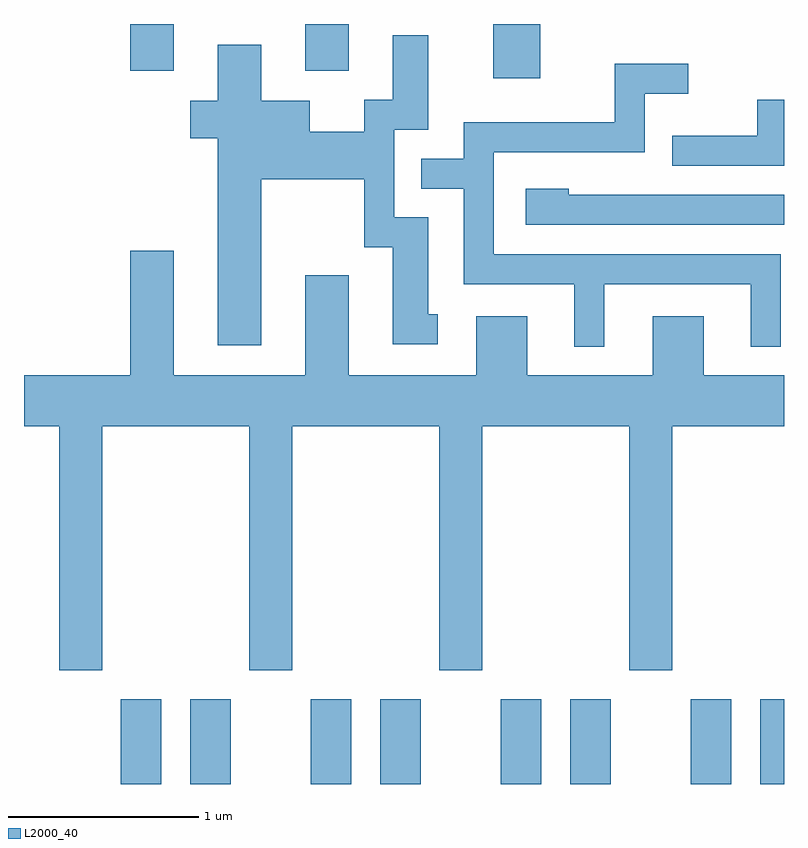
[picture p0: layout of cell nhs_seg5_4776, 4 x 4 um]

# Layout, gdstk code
import gdstk
lib = gdstk.Library(unit=1e-6, precision=1e-09)
def R(c, l, rs):  # rectangles x0, y0, x1, y1
    for r in rs: c.add(gdstk.rectangle(r[:2], r[2:], *l))
def P(c, l, *ps):  # polygons
    for p in ps: c.add(gdstk.Polygon(p, *l))
L2000_40 = (2000, 40)

nhs_seg5_4776 = lib.new_cell('nhs_seg5_4776')
R(nhs_seg5_4776, L2000_40, [(328.121,1406.072,328.334,1406.519), (328.486,1406.072,328.699,1406.519), (329.121,1406.072,329.334,1406.519), (329.486,1406.072,329.699,1406.519), (330.121,1406.072,330.334,1406.519), (330.486,1406.072,330.699,1406.519), (331.121,1406.072,331.334,1406.519), (331.486,1406.072,331.611,1406.519), (330.081,1409.786,330.329,1410.072), (328.171,1409.826,328.399,1410.072), (329.091,1409.826,329.319,1410.072)])
P(nhs_seg5_4776, L2000_40, [(328.859,1409.256),(329.401,1409.256),(329.401,1408.896),(329.551,1408.896),(329.551,1408.386),(329.788,1408.386),(329.788,1408.544),(329.739,1408.544),(329.739,1409.054),(329.559,1409.054),(329.559,1409.516),(329.739,1409.516),(329.739,1410.014),(329.551,1410.014),(329.551,1409.674),(329.401,1409.674),(329.401,1409.504),(329.114,1409.504),(329.114,1409.669),(328.859,1409.669),(328.859,1409.964),(328.631,1409.964),(328.631,1409.669),(328.486,1409.669),(328.486,1409.471),(328.631,1409.471),(328.631,1408.381),(328.859,1408.381)],
  [(330.664,1408.701),(331.436,1408.701),(331.436,1408.373),(331.594,1408.373),(331.594,1408.859),(330.084,1408.859),(330.084,1409.396),(330.879,1409.396),(330.879,1409.706),(331.108,1409.706),(331.108,1409.864),(330.721,1409.864),(330.721,1409.554),(329.926,1409.554),(329.926,1409.364),(329.703,1409.364),(329.703,1409.206),(329.926,1409.206),(329.926,1408.701),(330.506,1408.701),(330.506,1408.373),(330.664,1408.373)],
  [(331.611,1409.674),(331.471,1409.674),(331.471,1409.484),(331.023,1409.484),(331.023,1409.326),(331.611,1409.326)],
  [(331.611,1409.174),(330.479,1409.174),(330.479,1409.204),(330.251,1409.204),(330.251,1409.016),(331.611,1409.016)],
  [(329.319,1408.749),(329.091,1408.749),(329.091,1408.224),(328.399,1408.224),(328.399,1408.879),(328.171,1408.879),(328.171,1408.224),(327.611,1408.224),(327.611,1407.956),(327.796,1407.956),(327.796,1406.671),(328.024,1406.671),(328.024,1407.956),(328.796,1407.956),(328.796,1406.671),(329.024,1406.671),(329.024,1407.956),(329.796,1407.956),(329.796,1406.671),(330.024,1406.671),(330.024,1407.956),(330.796,1407.956),(330.796,1406.671),(331.024,1406.671),(331.024,1407.956),(331.611,1407.956),(331.611,1408.224),(331.189,1408.224),(331.189,1408.534),(330.921,1408.534),(330.921,1408.224),(330.259,1408.224),(330.259,1408.534),(329.991,1408.534),(329.991,1408.224),(329.319,1408.224)])

lib.write_gds('nhs_seg5_4776.gds')
